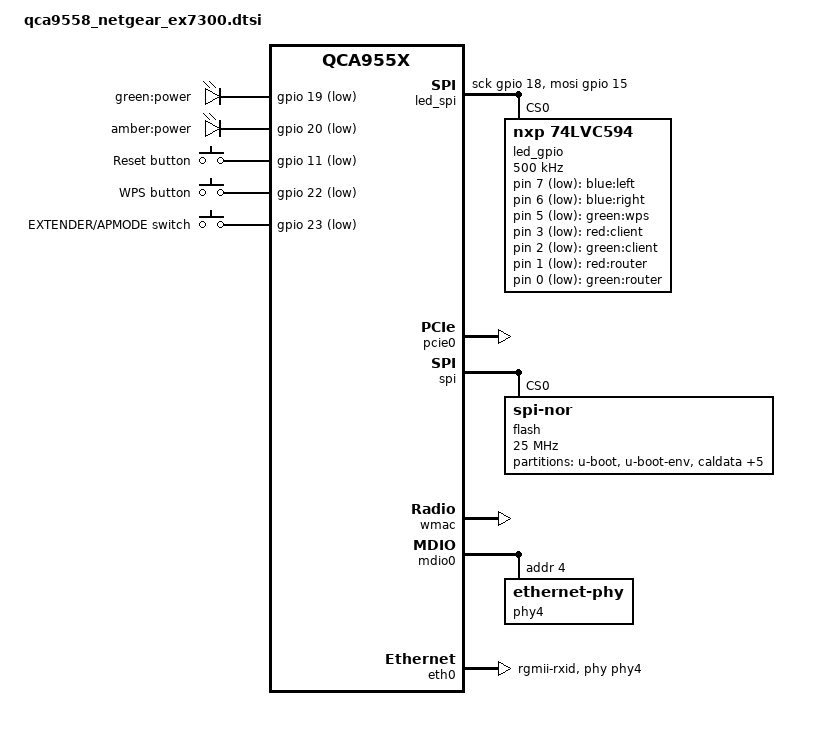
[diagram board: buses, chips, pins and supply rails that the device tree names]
// SPDX-License-Identifier: GPL-2.0-or-later OR MIT

#include "qca955x.dtsi"

#include <dt-bindings/gpio/gpio.h>
#include <dt-bindings/input/input.h>

/ {
	aliases {
		led-boot = &led_power_green;
		led-failsafe = &led_power_amber;
		led-running = &led_power_green;
		led-upgrade = &led_power_amber;
		label-mac-device = &eth0;
	};

	led_spi {
		compatible = "spi-gpio";
		#address-cells = <1>;
		#size-cells = <0>;

		sck-gpios = <&gpio 18 GPIO_ACTIVE_HIGH>;
		mosi-gpios = <&gpio 15 GPIO_ACTIVE_HIGH>;
		num-chipselects = <0>;

		led_gpio: led_gpio@0 {
			compatible = "nxp,74lvc594";
			reg = <0>;
			gpio-controller;
			#gpio-cells = <2>;
			registers-number = <1>;
			spi-max-frequency = <500000>;

			gpio_latch_bit {
				gpio-hog;
				gpios = <4 GPIO_ACTIVE_HIGH>;
				output-high;
				line-name = "gpio-latch-bit";
			};
		};
	};

	leds {
		compatible = "gpio-leds";

		led_power_green: power_green {
			label = "green:power";
			gpios = <&gpio 19 GPIO_ACTIVE_LOW>;
		};

		led_power_amber: power_amber {
			label = "amber:power";
			gpios = <&gpio 20 GPIO_ACTIVE_LOW>;
		};

		left_blue {
			label = "blue:left";
			gpios = <&led_gpio 7 GPIO_ACTIVE_LOW>;
		};

		right_blue {
			label = "blue:right";
			gpios = <&led_gpio 6 GPIO_ACTIVE_LOW>;
		};

		wps_green {
			label = "green:wps";
			gpios = <&led_gpio 5 GPIO_ACTIVE_LOW>;
		};

		client_red {
			label = "red:client";
			gpios = <&led_gpio 3 GPIO_ACTIVE_LOW>;
		};

		client_green {
			label = "green:client";
			gpios = <&led_gpio 2 GPIO_ACTIVE_LOW>;
		};

		router_red {
			label = "red:router";
			gpios = <&led_gpio 1 GPIO_ACTIVE_LOW>;
		};

		router_green {
			label = "green:router";
			gpios = <&led_gpio 0 GPIO_ACTIVE_LOW>;
		};
	};

	keys {
		compatible = "gpio-keys";

		reset {
			label = "Reset button";
			linux,code = <KEY_RESTART>;
			gpios = <&gpio 11 GPIO_ACTIVE_LOW>;
			debounce-interval = <60>;
		};

		wps {
			label = "WPS button";
			linux,code = <KEY_WPS_BUTTON>;
			gpios = <&gpio 22 GPIO_ACTIVE_LOW>;
			debounce-interval = <60>;
		};

		extender_apmode {
			label = "EXTENDER/APMODE switch";
			gpios = <&gpio 23 GPIO_ACTIVE_LOW>;
			linux,code = <BTN_0>;
			linux,input-type = <EV_SW>;
			debounce-interval = <60>;
		};
	};
};

&pcie0 {
	status = "okay";
};

&pll {
	clocks = <&extosc>;
};

&spi {
	status = "okay";

	flash@0 {
		compatible = "jedec,spi-nor";
		reg = <0>;
		spi-max-frequency = <25000000>;

		partitions {
			compatible = "fixed-partitions";
			#address-cells = <1>;
			#size-cells = <1>;

			uboot: partition@0 {
				label = "u-boot";
				reg = <0x000000 0x040000>;
				read-only;
			};

			partition@40000 {
				label = "u-boot-env";
				reg = <0x040000 0x010000>;
			};

			caldata: partition@50000 {
				label = "caldata";
				reg = <0x050000 0x010000>;
				read-only;
			};

			partition@60000 {
				label = "caldata-backup";
				reg = <0x060000 0x010000>;
				read-only;
			};

			partition@70000 {
				label = "config";
				reg = <0x070000 0x010000>;
			};

			partition@80000 {
				label = "pot";
				reg = <0x080000 0x010000>;
			};

			partition@90000 {
				label = "firmware";
				reg = <0x090000 0xf30000>;
				compatible = "denx,uimage";
			};

			partition@fc0000 {
				label = "language";
				reg = <0xfc0000 0x040000>;
			};
		};
	};
};

&wmac {
	status = "okay";

	mtd-cal-data = <&caldata 0x1000>;
	nvmem-cells = <&macaddr_caldata_6>;
	nvmem-cell-names = "mac-address";
};

&mdio0 {
	status = "okay";

	phy4: ethernet-phy@4 {
		reg = <4>;
		phy-mode = "rgmii";
	};
};

&eth0 {
	status = "okay";

	nvmem-cells = <&macaddr_caldata_0>;
	nvmem-cell-names = "mac-address";

	phy-handle = <&phy4>;
	phy-mode = "rgmii-rxid";

	pll-data = <0x86000000 0x80000101 0x80001313>;
};

&caldata {
	compatible = "nvmem-cells";
	#address-cells = <1>;
	#size-cells = <1>;

	macaddr_caldata_0: macaddr@0 {
		reg = <0x0 0x6>;
	};

	macaddr_caldata_6: macaddr@6 {
		reg = <0x6 0x6>;
	};
};
